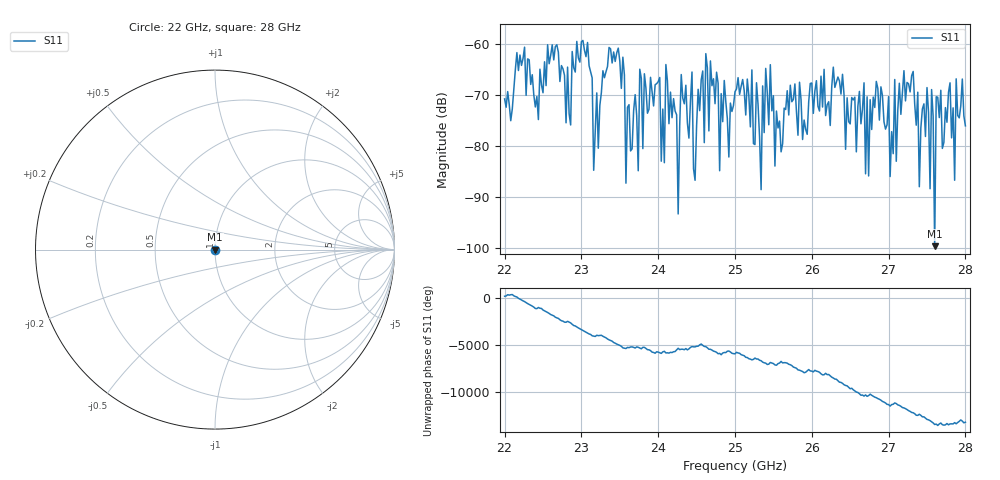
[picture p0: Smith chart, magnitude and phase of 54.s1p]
#  HZ  S  RI  R  50.00
! Rohde & Schwarz ZVA40 4Ports - Version 3.90 - 1145.1110k42 SN: 100403
! Date: 2023-10-04 07:52:26
! Measurement: S12
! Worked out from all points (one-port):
!   301 points, 22 GHz to 28 GHz, reference 50 ohm
!   lowest |S11| = -99.6 dB at 27.6 GHz (marker M1), VSWR 1.00, Z = 50 - j0.000854 ohm
!   |S11| at or under -10 dB: start of sweep to end of sweep
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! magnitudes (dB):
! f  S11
! 22 GHz  -70.8
! 22.76 GHz  -64.9
! 22.86 GHz  -75.9
! 23.08 GHz  -59.8
! 23.22 GHz  -80.4
! 23.5 GHz  -63.4
! 23.58 GHz  -87.3
! 23.74 GHz  -84.8
! 23.76 GHz  -65.0
! 23.8 GHz  -80.5
! 23.82 GHz  -65.9
! 24.08 GHz  -83.3
! 24.1 GHz  -64.1
! 24.26 GHz  -93.3
! 24.3 GHz  -66.0
! 24.4 GHz  -78.4
! 24.44 GHz  -65.5
! 24.46 GHz  -84.4
! 24.58 GHz  -65.3
! 24.6 GHz  -79.3
! 24.62 GHz  -61.9
! 24.8 GHz  -84.8
! 25 GHz  -69.4
! 25.76 GHz  -70.9
! 26.5 GHz  -75.7
! 27.26 GHz  -67.8
! 27.6 GHz  -99.6
! 28 GHz  -76.1
